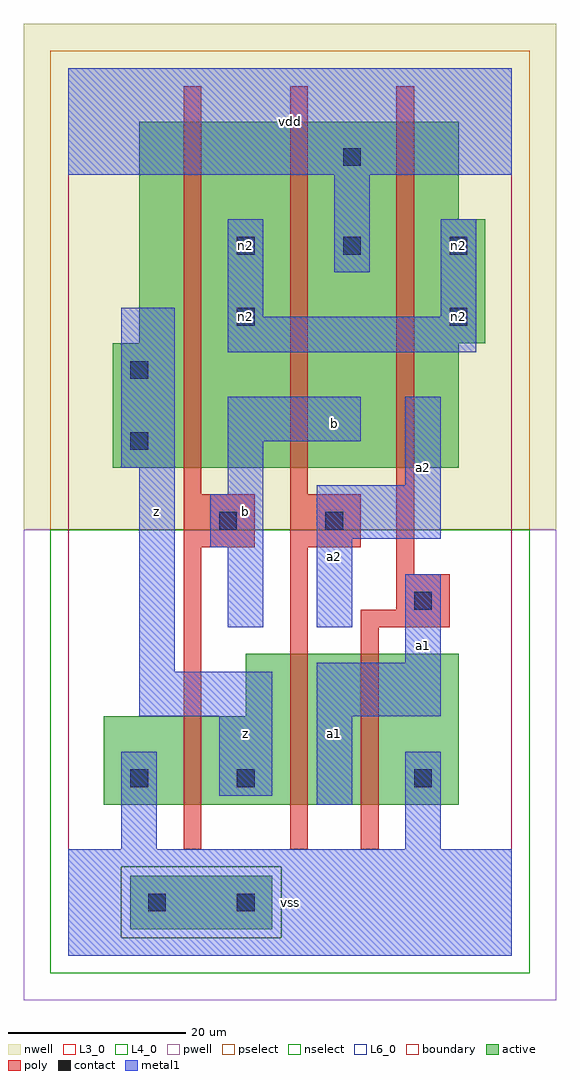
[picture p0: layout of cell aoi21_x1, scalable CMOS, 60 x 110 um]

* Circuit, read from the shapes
.subckt aoi21_x1 a1 a2 b n2 vdd vss z
M1 z b vss vss nfet w=10u l=2u
M2 n1 a2 z vss nfet w=17u l=2u
M3 vss a1 n1 vss nfet w=17u l=2u
M4 n2 b z n3 pfet w=39u l=2u
M5 vdd a2 n2 n3 pfet w=39u l=2u
M6 n2 a1 vdd n3 pfet w=39u l=2u
.ends

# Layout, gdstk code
import gdstk
lib = gdstk.Library(unit=1e-6, precision=1e-09)
def R(c, l, rs):  # rectangles x0, y0, x1, y1
    for r in rs: c.add(gdstk.rectangle(r[:2], r[2:], *l))
def A(c, l, x, y, w, h, nx, ny, dx, dy):  # array of equal rectangles
    R(c, l, [(x+i*dx, y+j*dy, x+i*dx+w, y+j*dy+h) for i in range(nx) for j in range(ny)])
L3_0 = (3, 0)
L4_0 = (4, 0)
L6_0 = (6, 0)
contact = (25, 0)
pwell = (41, 0)
nwell = (42, 0)
active = (43, 0)
pselect = (44, 0)
nselect = (45, 0)
poly = (46, 0)
metal1 = (49, 0)
boundary = (63, 0)

aoi21_x1 = lib.new_cell('aoi21_x1')
R(aoi21_x1, L3_0, [(4,17,44,27), (20,27,44,34)])
R(aoi21_x1, L4_0, [(5,55,44,69), (8,69,47,83), (8,83,44,94)])
R(aoi21_x1, L6_0, [(7,3,23,9)])
A(aoi21_x1, contact, 19, 79, 2, 2, 3, 1, 12, 0)
R(aoi21_x1, contact, [(9,5,11,7), (19,5,21,7), (7,19,9,21), (19,19,21,21), (39,19,41,21), (39,39,41,41), (17,48,19,50), (29,48,31,50), (7,57,9,59), (7,65,9,67), (19,71,21,73), (43,71,45,73), (31,89,33,91)])
R(aoi21_x1, pwell, [(-5,-5,55,48)])
R(aoi21_x1, nwell, [(-5,48,55,105)])
R(aoi21_x1, active, [(7,3,23,9), (4,17,44,27), (20,27,44,34), (5,55,44,69), (8,69,47,83), (8,83,44,94)])
R(aoi21_x1, pselect, [(6,2,24,10), (-2,48,52,102)])
R(aoi21_x1, nselect, [(-2,-2,52,2), (-2,2,6,10), (24,2,52,10), (-2,10,52,48)])
R(aoi21_x1, poly, [(13,12,15,46), (25,12,27,46), (33,12,35,37), (33,37,43,39), (37,39,43,43), (37,43,39,98), (13,46,21,52), (25,46,33,52), (13,52,15,98), (25,52,27,98)])
R(aoi21_x1, metal1, [(0,0,50,12), (6,12,10,23), (38,12,42,23), (28,17,32,27), (17,18,23,27), (8,27,23,32), (28,27,42,33), (8,32,12,55), (38,33,42,43), (18,37,22,46), (28,37,32,47), (16,46,22,52), (28,47,42,53), (18,52,22,58), (38,53,42,63), (6,55,12,73), (18,58,33,63), (18,68,46,72), (18,72,22,83), (42,72,46,83), (30,77,34,88), (0,88,50,100)])
R(aoi21_x1, boundary, [(0,0,50,100)])
aoi21_x1.add(gdstk.Label('n2', (20,80), layer=49, texttype=0))
aoi21_x1.add(gdstk.Label('n2', (20,72), layer=49, texttype=0))
aoi21_x1.add(gdstk.Label('n2', (44,80), layer=49, texttype=0))
aoi21_x1.add(gdstk.Label('n2', (44,72), layer=49, texttype=0))
aoi21_x1.add(gdstk.Label('z', (20,25), layer=49, texttype=0))
aoi21_x1.add(gdstk.Label('b', (20,50), layer=49, texttype=0))
aoi21_x1.add(gdstk.Label('z', (10,50), layer=49, texttype=0))
aoi21_x1.add(gdstk.Label('vss', (25,6), layer=49, texttype=0))
aoi21_x1.add(gdstk.Label('a1', (30,25), layer=49, texttype=0))
aoi21_x1.add(gdstk.Label('a2', (30,45), layer=49, texttype=0))
aoi21_x1.add(gdstk.Label('b', (30,60), layer=49, texttype=0))
aoi21_x1.add(gdstk.Label('vdd', (25,94), layer=49, texttype=0))
aoi21_x1.add(gdstk.Label('a1', (40,35), layer=49, texttype=0))
aoi21_x1.add(gdstk.Label('a2', (40,55), layer=49, texttype=0))

lib.write_gds('aoi21_x1.gds')
